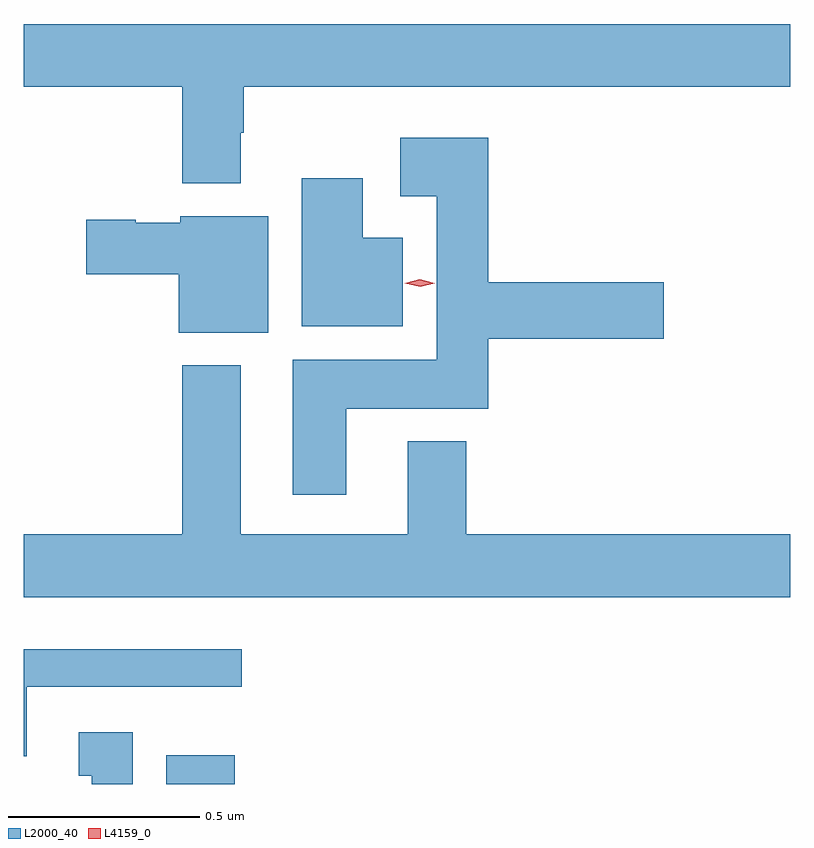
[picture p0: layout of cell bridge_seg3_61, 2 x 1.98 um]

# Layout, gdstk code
import gdstk
lib = gdstk.Library(unit=1e-6, precision=1e-09)
def R(c, l, rs):  # rectangles x0, y0, x1, y1
    for r in rs: c.add(gdstk.rectangle(r[:2], r[2:], *l))
def P(c, l, *ps):  # polygons
    for p in ps: c.add(gdstk.Polygon(p, *l))
L2000_40 = (2000, 40)
L4159_0 = (4159, 0)

bridge_seg3_61 = lib.new_cell('bridge_seg3_61')
R(bridge_seg3_61, L2000_40, [(602.663,697.765,602.842,697.84)])
P(bridge_seg3_61, L2000_40, [(602.857,699.464),(602.865,699.464),(602.865,699.584),(604.291,699.584),(604.291,699.748),(602.291,699.748),(602.291,699.584),(602.705,699.584),(602.705,699.332),(602.857,699.332)],
  [(603.133,698.744),(603.503,698.744),(603.503,698.927),(603.961,698.927),(603.961,699.074),(603.503,699.074),(603.503,699.451),(603.273,699.451),(603.273,699.299),(603.368,699.299),(603.368,698.872),(602.993,698.872),(602.993,698.52),(603.133,698.52)],
  [(603.28,699.19),(603.175,699.19),(603.175,699.346),(603.017,699.346),(603.017,698.96),(603.28,698.96)],
  [(602.929,699.247),(602.7,699.247),(602.7,699.229),(602.583,699.229),(602.583,699.237),(602.454,699.237),(602.454,699.095),(602.696,699.095),(602.696,698.942),(602.929,698.942)],
  [(604.291,698.416),(603.446,698.416),(603.446,698.659),(603.293,698.659),(603.293,698.416),(602.857,698.416),(602.857,698.857),(602.705,698.857),(602.705,698.416),(602.291,698.416),(602.291,698.252),(604.291,698.252)],
  [(602.299,698.019),(602.86,698.019),(602.86,698.116),(602.291,698.116),(602.291,697.838),(602.299,697.838)],
  [(602.575,697.9),(602.435,697.9),(602.435,697.787),(602.468,697.787),(602.468,697.765),(602.575,697.765)])
P(bridge_seg3_61, L4159_0, [(603.325,699.062),(603.285,699.072),(603.285,699.072),(603.285,699.072),(603.324,699.082),(603.364,699.072),(603.364,699.072),(603.364,699.072)])

lib.write_gds('bridge_seg3_61.gds')
